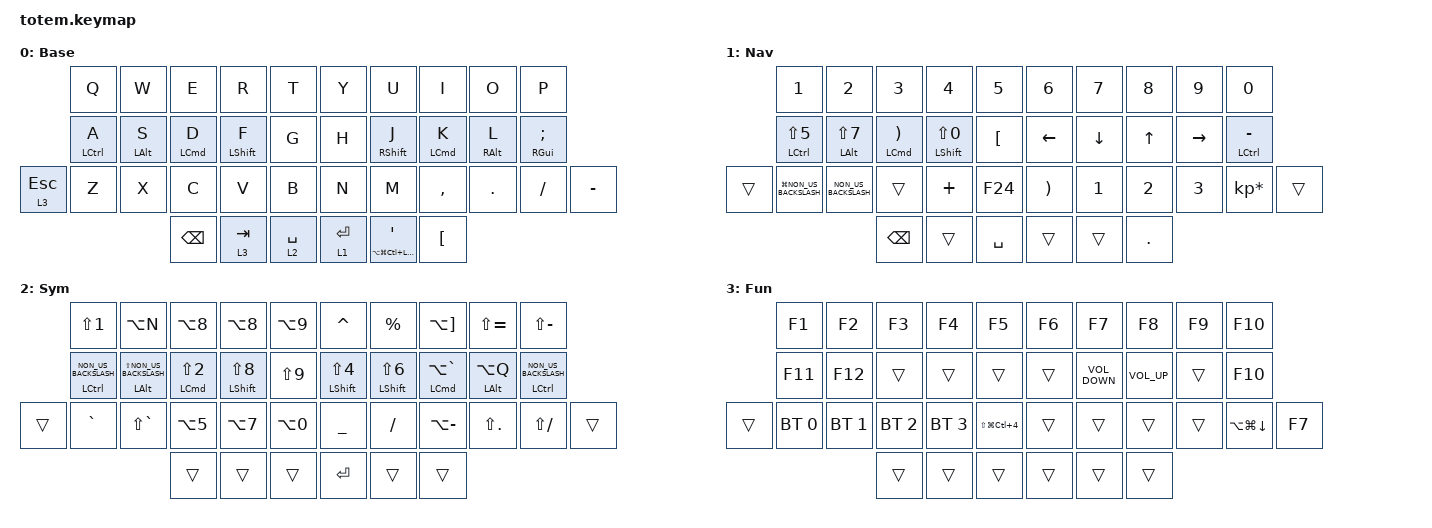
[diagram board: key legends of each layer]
//
//                                                        ▀▀▀▀▀     ▀▀▀▀▀          ▀▀█▀▀
//                                                        ▄▀▀▀▄  ▄  ▄▀▀▀▄  ▄  ▄▀▀▀▄  █  ▄▀▀▀▄
//                                                        █   █  █  █   █  █  █   █  █  █   █
//                                                         ▀▀▀   █   ▀▀▀   █   ▀▀▀   ▀   ▀▀▀
//                                                               █      ▄▄▄█▄▄▄    █   █  
//                                                               ▀      █  █  █     █▄█
//                                                             ▀▀▀▀▀    █  █  █      ▀
//                                                                      ▀  ▀  ▀
//
// ▄▄▄▄▄▄▄▄▄▄▄▄▄▄▄▄▄▄▄▄▄▄▄▄▄▄▄▄▄▄▄▄▄▄▄▄▄▄▄▄▄▄▄▄▄▄▄▄▄▄▄▄▄▄▄▄▄▄▄▄▄▄▄▄▄▄▄▄▄▄▄▄▄▄▄▄▄▄▄▄▄▄▄▄▄▄▄▄▄▄▄▄▄▄▄▄▄▄▄▄▄▄▄▄▄▄▄▄▄▄▄▄▄▄▄▄▄▄▄▄▄▄▄▄▄▄▄▄▄▄▄▄▄▄▄▄▄▄▄▄▄▄▄▄▄▄▄▄▄

#include <behaviors.dtsi>
#include <dt-bindings/zmk/bt.h>
#include <dt-bindings/zmk/keys.h>

#define Base        0
#define Nav         1
#define Sym         2
#define Fun         3
#define Game        4
#define Gameplus    5

&mt {
    quick-tap-ms = <100>;
    global-quick-tap;
    flavor = "tap-preferred";
    tapping-term-ms = <170>;
};

&lt {
    tapping-term-ms = <170>;
    flavor = "tap-preferred";
    quick-tap-ms = <100>;
};

/ {
    behaviors {
        hm: homerow_mods {
            compatible = "zmk,behavior-hold-tap";
            label = "HOMEROW_MODS";
            #binding-cells = <2>;
            flavor = "tap-preferred";
            tapping-term-ms = <170>;
            quick-tap-ms = <100>;
            global-quick-tap;
            bindings = <&kp>, <&kp>;
        };
    };

    combos {
        compatible = "zmk,combos";

        es {
            bindings = <&kp ESCAPE>;
            key-positions = <13 12>;
        };

        esc {
            bindings = <&kp ESCAPE>;
            key-positions = <16 17>;
        };
    };

    keymap {
        compatible = "zmk,keymap";

        Base {
            display-name = "Base";
            bindings = <
              &kp Q               &kp W       &kp E               &kp R         &kp T          &kp Y        &kp U                           &kp I               &kp O       &kp P
              &hm LEFT_CONTROL A  &hm LALT S  &hm LEFT_COMMAND D  &hm LSHIFT F  &kp G          &kp H        &hm RSHFT J                     &hm LEFT_COMMAND K  &hm RALT L  &hm RGUI SEMICOLON
&lt 3 ESCAPE  &kp Z               &kp X       &kp C               &kp V         &kp B          &kp N        &kp M                           &kp COMMA           &kp DOT     &kp SLASH           &kp MINUS
                                              &kp BACKSPACE       &lt 3 TAB     &lt 2 SPACE    &lt 1 ENTER  &hm LA(LG(LC(LEFT_SHIFT))) SQT  &kp LEFT_BRACKET
            >;
        };

        Nav {
            display-name = "Nav";
            bindings = <
        &kp NUMBER_1              &kp NUMBER_2          &kp NUMBER_3                        &kp NUMBER_4           &kp N5       &kp NUMBER_6  &kp NUMBER_7  &kp NUMBER_8  &kp NUMBER_9  &kp NUMBER_0
        &hm LEFT_CONTROL LS(N5)   &hm LEFT_ALT LS(N7)   &hm LEFT_COMMAND RIGHT_PARENTHESIS  &hm LEFT_SHIFT LS(N0)  &kp LBKT     &kp LEFT      &kp DOWN      &kp UP_ARROW  &kp RIGHT     &hm LEFT_CONTROL MINUS
&trans  &kp LG(NON_US_BACKSLASH)  &kp NON_US_BACKSLASH  &trans                              &kp PLUS               &kp F24      &kp RPAR      &kp NUMBER_1  &kp NUMBER_2  &kp NUMBER_3  &kp KP_MULTIPLY         &trans
                                                        &kp BACKSPACE                       &trans                 &kp SPACE    &trans        &trans        &kp DOT
            >;
        };

        Sym {
            display-name = "Sym";
            bindings = <
        &kp LS(NUMBER_1)                   &kp LA(N)                          &kp LA(N8)                     &kp LA(N8)             &kp LA(N9)    &kp CARET                    &kp PERCENT                  &kp LA(RIGHT_BRACKET)       &kp LS(EQUAL)       &kp LS(MINUS)
        &hm LEFT_CONTROL NON_US_BACKSLASH  &hm LEFT_ALT LS(NON_US_BACKSLASH)  &hm LEFT_COMMAND LS(NUMBER_2)  &hm LEFT_SHIFT LS(N8)  &kp LS(N9)    &hm LEFT_SHIFT LS(NUMBER_4)  &hm LEFT_SHIFT LS(NUMBER_6)  &hm LEFT_COMMAND LA(GRAVE)  &hm LEFT_ALT LA(Q)  &hm LEFT_CONTROL NON_US_BACKSLASH
&trans  &kp GRAVE                          &kp LS(GRAVE)                      &kp LA(N5)                     &kp LA(N7)             &kp LA(N0)    &kp UNDER                    &kp SLASH                    &kp LA(MINUS)               &kp LS(PERIOD)      &kp LS(SLASH)                      &trans
                                                                              &trans                         &trans                 &trans        &kp ENTER                    &trans                       &trans
            >;
        };

        Fun {
            display-name = "Fun";
            bindings = <
        &kp F1        &kp F2        &kp F3        &kp F4        &kp F5                      &kp F6  &kp F7             &kp F8           &kp F9  &kp F10
        &kp F11       &kp F12       &trans        &trans        &trans                      &trans  &kp C_VOLUME_DOWN  &kp C_VOLUME_UP  &trans  &kp F10
&trans  &bt BT_SEL 0  &bt BT_SEL 1  &bt BT_SEL 2  &bt BT_SEL 3  &kp LS(LG(LC(NUMBER_4)))    &trans  &trans             &trans           &trans  &kp LA(LG(DOWN))  &kp F7
                                    &trans        &trans        &trans                      &trans  &trans             &trans
            >;
        };
    };
};
